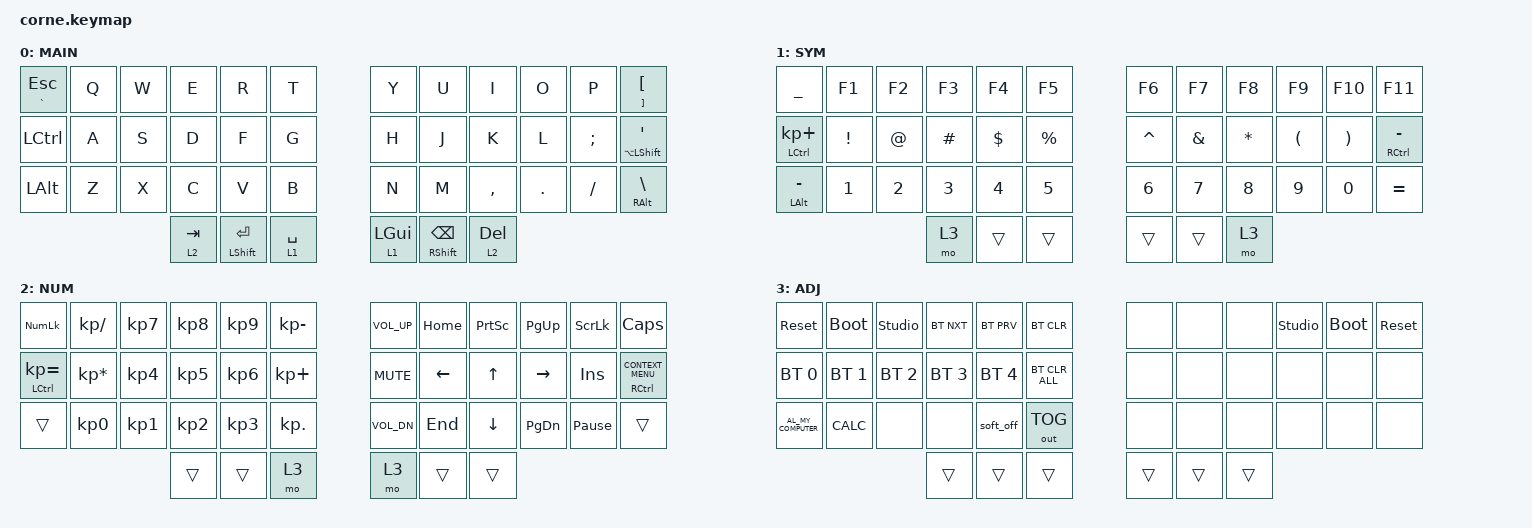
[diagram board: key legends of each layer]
/*
 * Copyright (c) 2020 The ZMK Contributors
 *
 * SPDX-License-Identifier: MIT
 */

#include <behaviors.dtsi>
#include <dt-bindings/zmk/bt.h>
#include <dt-bindings/zmk/keys.h>
#include <dt-bindings/zmk/outputs.h>

&led_strip { chain-length = <27>; };

&lt { quick-tap-ms = <200>; };

&mt { quick-tap-ms = <200>; };

/ {
    macros {
        new_macro: new_macro {
            compatible = "zmk,behavior-macro";
            #binding-cells = <0>;
            bindings = <&kp LSHFT &kp LALT>, <&macro_tap>;

            label = "NEW_MACRO";
        };
    };

    keymap {
        compatible = "zmk,keymap";

        default_layer {
            label = "MAIN";

            // -----------------------------------------------------------------------------------------
            // |  TAB |  Q  |  W  |  E  |  R  |  T  |   |  Y  |  U   |  I  |  O  |  P  | BKSP |
            // | CTRL |  A  |  S  |  D  |  F  |  G  |   |  H  |  J   |  K  |  L  |  ;  |  '   |
            // | SHFT |  Z  |  X  |  C  |  V  |  B  |   |  N  |  M   |  ,  |  .  |  /  | ESC  |
            //                    | GUI | LWR | SPC |   | ENT | RSE  | ALT |

            bindings = <
&mt GRAVE ESCAPE  &kp Q  &kp W  &kp E      &kp R            &kp T          &kp Y           &kp U                &kp I         &kp O    &kp P     &mt RIGHT_BRACKET LEFT_BRACKET
&kp LCTRL         &kp A  &kp S  &kp D      &kp F            &kp G          &kp H           &kp J                &kp K         &kp L    &kp SEMI  &mt LA(LSHFT) SQT
&kp LALT          &kp Z  &kp X  &kp C      &kp V            &kp B          &kp N           &kp M                &kp COMMA     &kp DOT  &kp FSLH  &mt RIGHT_ALT BACKSLASH
                                &lt 2 TAB  &mt LSHFT ENTER  &lt 1 SPACE    &lt 1 LEFT_GUI  &mt RSHFT BACKSPACE  &lt 2 DELETE
            >;
        };

        lower_layer {
            label = "SYM";

            // -----------------------------------------------------------------------------------------
            // |  TAB |  !  |  @  |  #  |  $  |  %  |   |  ^  |  &  |  *  |  (  |  )  | BKSP |
            // | CTRL |     |     |     |     |     |   |  -  |  =  |  [  |  ]  |  \  |  `   |
            // | SHFT |     |     |     |     |     |   |  _  |  +  |  {  |  }  | "|" |  ~   |
            //                    | GUI |     | SPC |   | ENT |     | ALT |

            bindings = <
&kp UNDERSCORE     &kp F1           &kp F2       &kp F3    &kp F4      &kp F5         &kp F6     &kp F7         &kp F8        &kp F9                &kp F10                &kp F11
&mt LCTRL KP_PLUS  &kp EXCLAMATION  &kp AT_SIGN  &kp HASH  &kp DOLLAR  &kp PERCENT    &kp CARET  &kp AMPERSAND  &kp ASTERISK  &kp LEFT_PARENTHESIS  &kp RIGHT_PARENTHESIS  &mt RCTRL MINUS
&mt LALT MINUS     &kp N1           &kp N2       &kp N3    &kp N4      &kp N5         &kp N6     &kp N7         &kp N8        &kp N9                &kp N0                 &kp EQUAL
                                                 &mo 3     &trans      &trans         &trans     &trans         &mo 3
            >;
        };

        raise_layer {
            label = "NUM";

            // -----------------------------------------------------------------------------------------
            // |  TAB |  1  |  2  |  3  |  4  |  5  |   |  6  |  7  |  8  |  9  |  0  | BKSP |
            // | BTCLR| BT1 | BT2 | BT3 | BT4 | BT5 |   | LFT | DWN |  UP | RGT |     |      |
            // | SHFT |     |     |     |     |     |   |     |     |     |     |     |      |
            //                    | GUI |     | SPC |   | ENT |     | ALT |

            bindings = <
&kp KP_NUMLOCK      &kp KP_DIVIDE    &kp KP_N7  &kp KP_N8  &kp KP_N9  &kp KP_MINUS    &kp C_VOLUME_UP  &kp HOME  &kp PRINTSCREEN  &kp PG_UP  &kp SCROLLLOCK   &kp CLCK
&mt LCTRL KP_EQUAL  &kp KP_MULTIPLY  &kp KP_N4  &kp KP_N5  &kp KP_N6  &kp KP_PLUS     &kp C_MUTE       &kp LEFT  &kp UP           &kp RIGHT  &kp INS          &mt RCTRL K_CONTEXT_MENU
&trans              &kp KP_N0        &kp KP_N1  &kp KP_N2  &kp KP_N3  &kp KP_DOT      &kp C_VOL_DN     &kp END   &kp DOWN         &kp PG_DN  &kp PAUSE_BREAK  &trans
                                                &trans     &trans     &mo 3           &mo 3            &trans    &trans
            >;
        };

        adj_layer {
            label = "ADJ";
            bindings = <
&sys_reset            &bootloader   &studio_unlock &bt BT_NXT    &bt BT_PRV    &bt BT_CLR        &none   &none   &none  &studio_unlock  &bootloader  &sys_reset
&bt BT_SEL 0          &bt BT_SEL 1  &bt BT_SEL 2   &bt BT_SEL 3  &bt BT_SEL 4  &bt BT_CLR_ALL    &none   &none   &none  &none           &none        &none
&kp C_AL_MY_COMPUTER  &kp K_CALC    &none          &none         &soft_off     &out OUT_TOG      &none   &none   &none  &none           &none        &none
                                                   &trans        &trans        &trans            &trans  &trans  &trans
            >;
        };
    };
};
